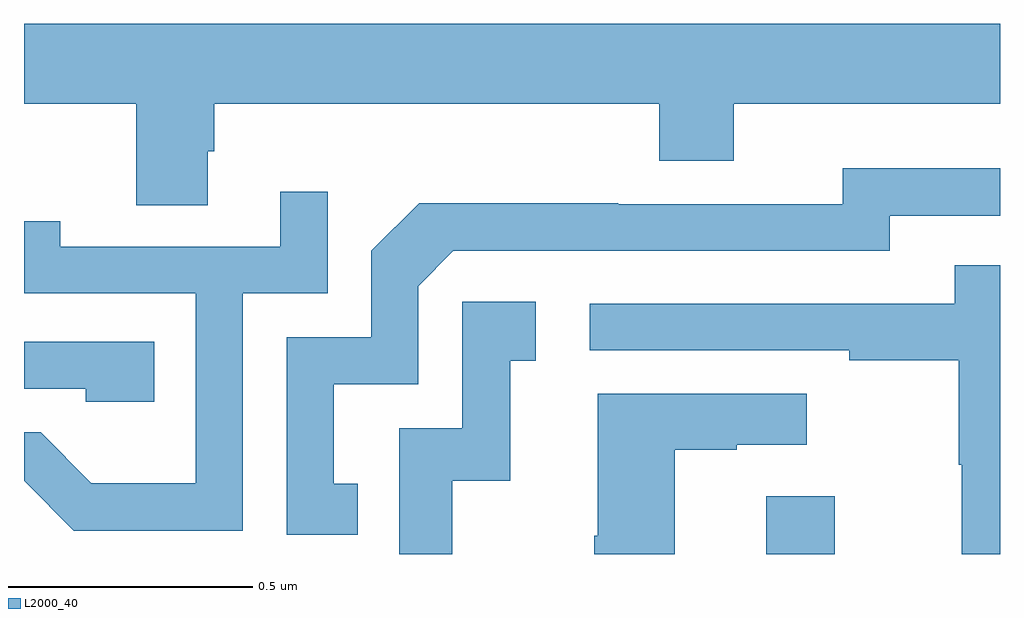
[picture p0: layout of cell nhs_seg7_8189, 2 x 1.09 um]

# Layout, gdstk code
import gdstk
lib = gdstk.Library(unit=1e-6, precision=1e-09)
def R(c, l, rs):  # rectangles x0, y0, x1, y1
    for r in rs: c.add(gdstk.rectangle(r[:2], r[2:], *l))
def P(c, l, *ps):  # polygons
    for p in ps: c.add(gdstk.Polygon(p, *l))
L2000_40 = (2000, 40)

nhs_seg7_8189 = lib.new_cell('nhs_seg7_8189')
R(nhs_seg7_8189, L2000_40, [(222.521,1025,222.661,1025.119)])
P(nhs_seg7_8189, L2000_40, [(221.377,1025.826),(221.39,1025.826),(221.39,1025.924),(222.302,1025.924),(222.302,1025.807),(222.454,1025.807),(222.454,1025.924),(223,1025.924),(223,1026.088),(221,1026.088),(221,1025.924),(221.23,1025.924),(221.23,1025.716),(221.377,1025.716)],
  [(221.684,1025.145),(221.635,1025.145),(221.635,1025.349),(221.808,1025.349),(221.808,1025.55),(221.88,1025.622),(222.774,1025.622),(222.774,1025.694),(223,1025.694),(223,1025.791),(222.678,1025.791),(222.678,1025.718),(222.218,1025.718),(222.218,1025.72),(221.81,1025.72),(221.712,1025.622),(221.712,1025.445),(221.538,1025.445),(221.538,1025.04),(221.684,1025.04)],
  [(221.448,1025.535),(221.622,1025.535),(221.622,1025.743),(221.525,1025.743),(221.525,1025.631),(221.074,1025.631),(221.074,1025.683),(221,1025.683),(221,1025.535),(221.352,1025.535),(221.352,1025.146),(221.138,1025.146),(221.034,1025.25),(221,1025.25),(221,1025.151),(221.102,1025.049),(221.448,1025.049)],
  [(223,1025.593),(222.907,1025.593),(222.907,1025.514),(222.159,1025.514),(222.159,1025.418),(222.691,1025.418),(222.691,1025.398),(222.915,1025.398),(222.915,1025.184),(222.922,1025.184),(222.922,1025),(223,1025)],
  [(221.878,1025.151),(221.996,1025.151),(221.996,1025.397),(222.049,1025.397),(222.049,1025.518),(221.898,1025.518),(221.898,1025.259),(221.769,1025.259),(221.769,1025),(221.878,1025)],
  [(221.267,1025.436),(221,1025.436),(221,1025.34),(221.127,1025.34),(221.127,1025.313),(221.267,1025.313)],
  [(222.334,1025.215),(222.461,1025.215),(222.461,1025.225),(222.604,1025.225),(222.604,1025.329),(222.176,1025.329),(222.176,1025.038),(222.169,1025.038),(222.169,1025),(222.334,1025)])

lib.write_gds('nhs_seg7_8189.gds')
